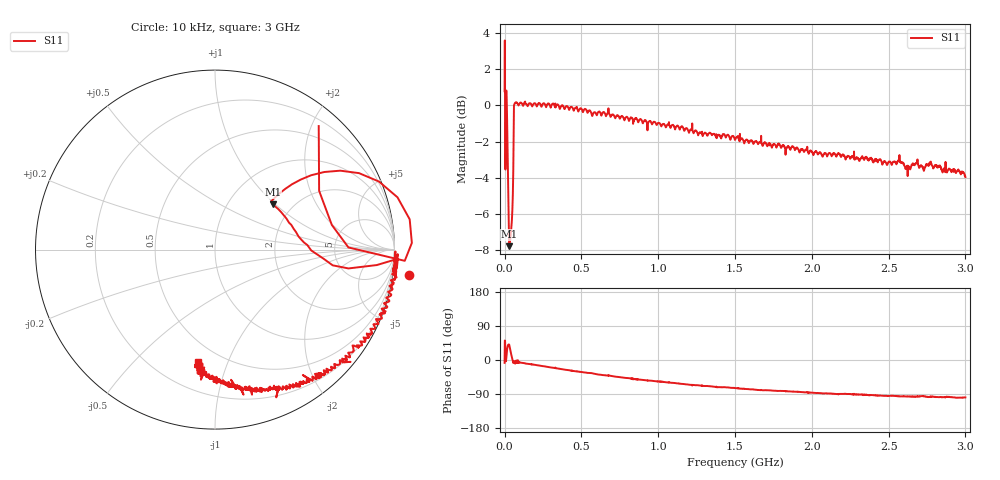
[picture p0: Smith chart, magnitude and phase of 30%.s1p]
# HZ S RI R 50
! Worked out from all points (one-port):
!   2020 points, 10 kHz to 3 GHz, reference 50 ohm
!   lowest |S11| = -7.8 dB at 31.21 MHz (marker M1), VSWR 2.38, Z = 79.6 + j48.2 ohm
!   |S11| at or under -10 dB: nowhere
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10000  1.084 -0.1434
5953516  0.6509 0.1375
1.635467e7  0.8021 0.4261
1.932643e7  0.6091 0.4324
2.378406e7  0.4292 0.3641
2.675582e7  0.3596 0.3132
3.121346e7  0.322 0.2523
3.715698e7  0.3842 0.1895
4.310049e7  0.4383 0.1159
5.350164e7  0.5649 -0.0236
6.39028e7  1.004 -0.0773
7.133219e7  1.016 -0.0556
7.578983e7  1.018 -0.0256
2.407224e8  0.9539 -0.2689
3.759374e8  0.9089 -0.4152
6.107063e8  0.7515 -0.5954
7.503789e8  0.6467 -0.652
1.126306e9  0.4169 -0.7725
1.381877e9  0.2523 -0.7737
1.500748e9  0.2215 -0.7718
1.653793e9  0.1475 -0.7741
1.875189e9  0.0854 -0.7651
2.158992e9  0.00198 -0.7223
2.251117e9  -0.00132 -0.7136
2.573552e9  -0.071 -0.6986
2.625558e9  -0.0748 -0.6735
2.765231e9  -0.0907 -0.6868
3e9  -0.0959 -0.6267
